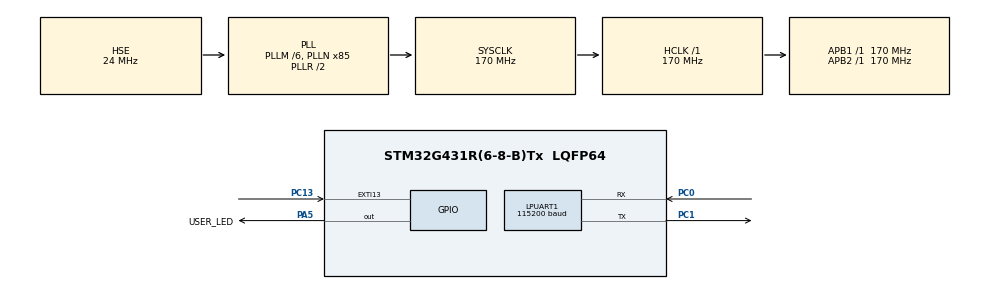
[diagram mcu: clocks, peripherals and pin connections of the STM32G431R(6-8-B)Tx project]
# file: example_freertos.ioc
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FREERTOS.Tasks01=defaultTask,0,128,StartDefaultTask,Default,NULL,Dynamic,NULL,NULL
FREERTOS.configENABLE_FPU=1
FREERTOS.configGENERATE_RUN_TIME_STATS=1
FREERTOS.configMAX_PRIORITIES=31
FREERTOS.configRECORD_STACK_HIGH_ADDRESS=1
FREERTOS.configTOTAL_HEAP_SIZE=20480
FREERTOS.configUSE_COUNTING_SEMAPHORES=1
FREERTOS.configUSE_NEWLIB_REENTRANT=1
FREERTOS.configUSE_STATS_FORMATTING_FUNCTIONS=1
FREERTOS.configUSE_TIMERS=1
FREERTOS.configUSE_TRACE_FACILITY=1
LPUART1.BaudRate=115200
Mcu.Family=STM32G4
Mcu.Name=STM32G431R(6-8-B)Tx
Mcu.Package=LQFP64
NVIC.EXTI15_10_IRQn=true\:5\:0\:false\:false\:true\:true\:true\:true\:true
NVIC.LPUART1_IRQn=true\:5\:0\:false\:false\:true\:true\:true\:true\:true
NVIC.PriorityGroup=NVIC_PRIORITYGROUP_4
PA13.Mode=Serial_Wire
PA13.Signal=SYS_JTMS-SWDIO
PA14.Mode=Serial_Wire
PA14.Signal=SYS_JTCK-SWCLK
PA5.GPIO_Label=USER_LED
PA5.Signal=GPIO_Output
PC0.Mode=Asynchronous
PC0.Signal=LPUART1_RX
PC1.Mode=Asynchronous
PC1.Signal=LPUART1_TX
PC13.GPIO_ModeDefaultEXTI=GPIO_MODE_IT_FALLING
PC13.Signal=GPXTI13
PF0-OSC_IN.Mode=HSE-External-Oscillator
PF0-OSC_IN.Signal=RCC_OSC_IN
PF1-OSC_OUT.Mode=HSE-External-Oscillator
PF1-OSC_OUT.Signal=RCC_OSC_OUT
ProjectManager.HeapSize=0x200
ProjectManager.StackSize=0x400
ProjectManager.TargetToolchain=STM32CubeIDE
RCC.ADC12Freq_Value=170000000
RCC.AHBFreq_Value=170000000
RCC.APB1Freq_Value=170000000
RCC.APB1TimFreq_Value=170000000
RCC.APB2Freq_Value=170000000
RCC.APB2TimFreq_Value=170000000
RCC.CortexFreq_Value=170000000
RCC.EXTERNAL_CLOCK_VALUE=12288000
RCC.HCLKFreq_Value=170000000
RCC.HSE_VALUE=24000000
RCC.HSI48_VALUE=48000000
RCC.HSI_VALUE=16000000
RCC.LSE_VALUE=32768
RCC.PLLM=RCC_PLLM_DIV6
RCC.PLLN=85
RCC.PLLSourceVirtual=RCC_PLLSOURCE_HSE
RCC.SYSCLKFreq_VALUE=170000000
RCC.SYSCLKSource=RCC_SYSCLKSOURCE_PLLCLK
RCC.USBFreq_Value=170000000
RCC.VCOOutputFreq_Value=340000000
VP_FREERTOS_VS_CMSIS_V1.Mode=CMSIS_V1
board=custom

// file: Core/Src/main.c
/* USER CODE BEGIN Header */
/**
  ******************************************************************************
  * @file           : main.c
  * @brief          : Main program body
  ******************************************************************************
  * @attention
  *
  * Copyright (c) 2023 STMicroelectronics.
  * All rights reserved.
  *
  * This software is licensed under terms that can be found in the LICENSE file
  * in the root directory of this software component.
  * If no LICENSE file comes with this software, it is provided AS-IS.
  *
  ******************************************************************************
  */
/* USER CODE END Header */
#include "main.h"
#include "cmsis_os.h"

/* USER CODE BEGIN Includes */
#include "message_buffer.h"
#include <stdio.h>
#include <string.h>
/* USER CODE END Includes */

/* USER CODE BEGIN PD */
#define BUTTON_0	(uint8_t)GPIO_PIN_13
#define BUTTON_1	(uint8_t)GPIO_PIN_14
/* USER CODE END PD */

UART_HandleTypeDef hlpuart1;

osThreadId defaultTaskHandle;

void SystemClock_Config(void);
static void MX_GPIO_Init(void);
static void MX_LPUART1_UART_Init(void);
void StartDefaultTask(void const * argument);

/* USER CODE BEGIN PFP */
SemaphoreHandle_t 		mutex_lpuart;
SemaphoreHandle_t 		sem_lpuart;
QueueHandle_t 			queue_button;
MessageBufferHandle_t 	print_messages_buffer;
TimerHandle_t 			blinky_tm;
TimerHandle_t 			button_tm;
/* USER CODE END PFP */

/* USER CODE BEGIN 0 */
void printk(char *string, TickType_t timeout) {
	if (xSemaphoreTake(mutex_lpuart, timeout) == pdTRUE){
		(void)xMessageBufferSend(print_messages_buffer, string, strlen(string), portMAX_DELAY);
		xSemaphoreGive(mutex_lpuart);
	}
}

BaseType_t read_button(uint8_t *button, TickType_t timeout){
	return xQueueReceive(queue_button, button, timeout);
}

void HAL_UART_TxCpltCallback(UART_HandleTypeDef *huart){
	portBASE_TYPE pxHigherPriorityTaskWoken = pdFALSE;
	xSemaphoreGiveFromISR(sem_lpuart, &pxHigherPriorityTaskWoken);
	portYIELD_FROM_ISR(pxHigherPriorityTaskWoken);
}

void HAL_GPIO_EXTI_Callback(uint16_t GPIO_Pin) {
  if (GPIO_Pin == GPIO_PIN_13) {
    HAL_NVIC_DisableIRQ(EXTI15_10_IRQn);
	portBASE_TYPE pxHigherPriorityTaskWoken = pdFALSE;
    xTimerStartFromISR(button_tm, &pxHigherPriorityTaskWoken);
	portYIELD_FROM_ISR(pxHigherPriorityTaskWoken);
  }
}

void button_cb(TimerHandle_t xTimer) {
  (void) xTimer;
	if (HAL_GPIO_ReadPin(GPIOC, BUTTON_0) == GPIO_PIN_RESET) {
		// guardar em uma fila de botões
		uint8_t button = BUTTON_0;
		xQueueSend(queue_button, &button, 0);
	}

	__HAL_GPIO_EXTI_CLEAR_IT(BUTTON_0);
	HAL_NVIC_EnableIRQ(EXTI15_10_IRQn);
}

void led_blinky_cb(TimerHandle_t xTimer) {
  (void) xTimer;
  HAL_GPIO_TogglePin(USER_LED_GPIO_Port, USER_LED_Pin);
}

static void sobra_cpu(void *param){
	uint32_t cnt = 0;
	while(1){
		cnt++;
		if (cnt == 100000000) {
			xTimerChangePeriod(blinky_tm, 1000, 0);
		}
	}
}

static void print_task(void *param){
	char mensagem[512];
	while(1){
		size_t len = xMessageBufferReceive(print_messages_buffer, mensagem, 512, portMAX_DELAY);
		if (len) {
			HAL_UART_Transmit_IT(&hlpuart1, (uint8_t *)mensagem, len);
			xSemaphoreTake(sem_lpuart, portMAX_DELAY);
		}
	}
}

static void keyboard_task(void *param){
	uint8_t button;
	char buffer[512];
	while(1){
		(void)read_button(&button, portMAX_DELAY);
		if (button == BUTTON_0) {
			vTaskList(buffer);
			printk(buffer, 10);
		}
	}
}
/* USER CODE END 0 */

int main(void)
{

  /* MCU Configuration--------------------------------------------------------*/

  /* Reset of all peripherals, Initializes the Flash interface and the Systick. */
  HAL_Init();

  /* Configure the system clock */
  SystemClock_Config();

  /* Initialize all configured peripherals */
  MX_GPIO_Init();
  MX_LPUART1_UART_Init();

  /* USER CODE BEGIN RTOS_MUTEX */
  /* add mutexes, ... */
  mutex_lpuart = xSemaphoreCreateMutex();
  /* USER CODE END RTOS_MUTEX */

  /* USER CODE BEGIN RTOS_SEMAPHORES */
  /* add semaphores, ... */
  sem_lpuart = xSemaphoreCreateBinary();
  /* USER CODE END RTOS_SEMAPHORES */

  /* USER CODE BEGIN RTOS_TIMERS */
  /* start timers, add new ones, ... */
  blinky_tm = xTimerCreate("Blink timer", pdMS_TO_TICKS(200), pdTRUE, NULL, led_blinky_cb);
  xTimerStart(blinky_tm, 0);
  button_tm = xTimerCreate("Button timer", pdMS_TO_TICKS(100), pdFALSE, NULL, button_cb);
  /* USER CODE END RTOS_TIMERS */

  /* USER CODE BEGIN RTOS_QUEUES */
  /* add queues, ... */
  queue_button = xQueueCreate(128, sizeof(uint8_t));
  print_messages_buffer = xMessageBufferCreate(1024);
  /* USER CODE END RTOS_QUEUES */

  /* Create the thread(s) */
  /* definition and creation of defaultTask */
  osThreadDef(defaultTask, StartDefaultTask, osPriorityNormal, 0, 128);
  defaultTaskHandle = osThreadCreate(osThread(defaultTask), NULL);

  /* USER CODE BEGIN RTOS_THREADS */
  /* add threads, ... */
  xTaskCreate(print_task, "Print Task", 256, NULL, 10, NULL);
  xTaskCreate(keyboard_task, "Keyboard Task", 512, NULL, 5, NULL);
  xTaskCreate(sobra_cpu, "Sobra CPU", 256, NULL, 1, NULL);
  /* USER CODE END RTOS_THREADS */

  /* Start scheduler */
  osKernelStart();

  /* We should never get here as control is now taken by the scheduler */
  /* Infinite loop */
  while (1)
  {

  }
}

void SystemClock_Config(void)
{
  RCC_OscInitTypeDef RCC_OscInitStruct = {0};
  RCC_ClkInitTypeDef RCC_ClkInitStruct = {0};

  /** Configure the main internal regulator output voltage
  */
  HAL_PWREx_ControlVoltageScaling(PWR_REGULATOR_VOLTAGE_SCALE1_BOOST);

  /** Initializes the RCC Oscillators according to the specified parameters
  * in the RCC_OscInitTypeDef structure.
  */
  RCC_OscInitStruct.OscillatorType = RCC_OSCILLATORTYPE_HSE;
  RCC_OscInitStruct.HSEState = RCC_HSE_ON;
  RCC_OscInitStruct.PLL.PLLState = RCC_PLL_ON;
  RCC_OscInitStruct.PLL.PLLSource = RCC_PLLSOURCE_HSE;
  RCC_OscInitStruct.PLL.PLLM = RCC_PLLM_DIV6;
  RCC_OscInitStruct.PLL.PLLN = 85;
  RCC_OscInitStruct.PLL.PLLP = RCC_PLLP_DIV2;
  RCC_OscInitStruct.PLL.PLLQ = RCC_PLLQ_DIV2;
  RCC_OscInitStruct.PLL.PLLR = RCC_PLLR_DIV2;
  if (HAL_RCC_OscConfig(&RCC_OscInitStruct) != HAL_OK)
  {
    Error_Handler();
  }

  /** Initializes the CPU, AHB and APB buses clocks
  */
  RCC_ClkInitStruct.ClockType = RCC_CLOCKTYPE_HCLK|RCC_CLOCKTYPE_SYSCLK
                              |RCC_CLOCKTYPE_PCLK1|RCC_CLOCKTYPE_PCLK2;
  RCC_ClkInitStruct.SYSCLKSource = RCC_SYSCLKSOURCE_PLLCLK;
  RCC_ClkInitStruct.AHBCLKDivider = RCC_SYSCLK_DIV1;
  RCC_ClkInitStruct.APB1CLKDivider = RCC_HCLK_DIV1;
  RCC_ClkInitStruct.APB2CLKDivider = RCC_HCLK_DIV1;

  if (HAL_RCC_ClockConfig(&RCC_ClkInitStruct, FLASH_LATENCY_4) != HAL_OK)
  {
    Error_Handler();
  }
}

static void MX_LPUART1_UART_Init(void)
{

  hlpuart1.Instance = LPUART1;
  hlpuart1.Init.BaudRate = 115200;
  hlpuart1.Init.WordLength = UART_WORDLENGTH_8B;
  hlpuart1.Init.StopBits = UART_STOPBITS_1;
  hlpuart1.Init.Parity = UART_PARITY_NONE;
  hlpuart1.Init.Mode = UART_MODE_TX_RX;
  hlpuart1.Init.HwFlowCtl = UART_HWCONTROL_NONE;
  hlpuart1.Init.OneBitSampling = UART_ONE_BIT_SAMPLE_DISABLE;
  hlpuart1.Init.ClockPrescaler = UART_PRESCALER_DIV1;
  hlpuart1.AdvancedInit.AdvFeatureInit = UART_ADVFEATURE_NO_INIT;
  if (HAL_UART_Init(&hlpuart1) != HAL_OK)
  {
    Error_Handler();
  }
  if (HAL_UARTEx_SetTxFifoThreshold(&hlpuart1, UART_TXFIFO_THRESHOLD_1_8) != HAL_OK)
  {
    Error_Handler();
  }
  if (HAL_UARTEx_SetRxFifoThreshold(&hlpuart1, UART_RXFIFO_THRESHOLD_1_8) != HAL_OK)
  {
    Error_Handler();
  }
  if (HAL_UARTEx_DisableFifoMode(&hlpuart1) != HAL_OK)
  {
    Error_Handler();
  }

}

static void MX_GPIO_Init(void)
{
  GPIO_InitTypeDef GPIO_InitStruct = {0};

  /* GPIO Ports Clock Enable */
  __HAL_RCC_GPIOC_CLK_ENABLE();
  __HAL_RCC_GPIOF_CLK_ENABLE();
  __HAL_RCC_GPIOA_CLK_ENABLE();

  /*Configure GPIO pin Output Level */
  HAL_GPIO_WritePin(USER_LED_GPIO_Port, USER_LED_Pin, GPIO_PIN_RESET);

  /*Configure GPIO pin : PC13 */
  GPIO_InitStruct.Pin = GPIO_PIN_13;
  GPIO_InitStruct.Mode = GPIO_MODE_IT_FALLING;
  GPIO_InitStruct.Pull = GPIO_NOPULL;
  HAL_GPIO_Init(GPIOC, &GPIO_InitStruct);

  /*Configure GPIO pin : USER_LED_Pin */
  GPIO_InitStruct.Pin = USER_LED_Pin;
  GPIO_InitStruct.Mode = GPIO_MODE_OUTPUT_PP;
  GPIO_InitStruct.Pull = GPIO_NOPULL;
  GPIO_InitStruct.Speed = GPIO_SPEED_FREQ_LOW;
  HAL_GPIO_Init(USER_LED_GPIO_Port, &GPIO_InitStruct);

  /* EXTI interrupt init*/
  HAL_NVIC_SetPriority(EXTI15_10_IRQn, 5, 0);
  HAL_NVIC_EnableIRQ(EXTI15_10_IRQn);

}

void StartDefaultTask(void const * argument)
{
  for(;;)
  {
    osDelay(1);
  }
}

void Error_Handler(void)
{
  __disable_irq();
  while (1)
  {
  }
}
